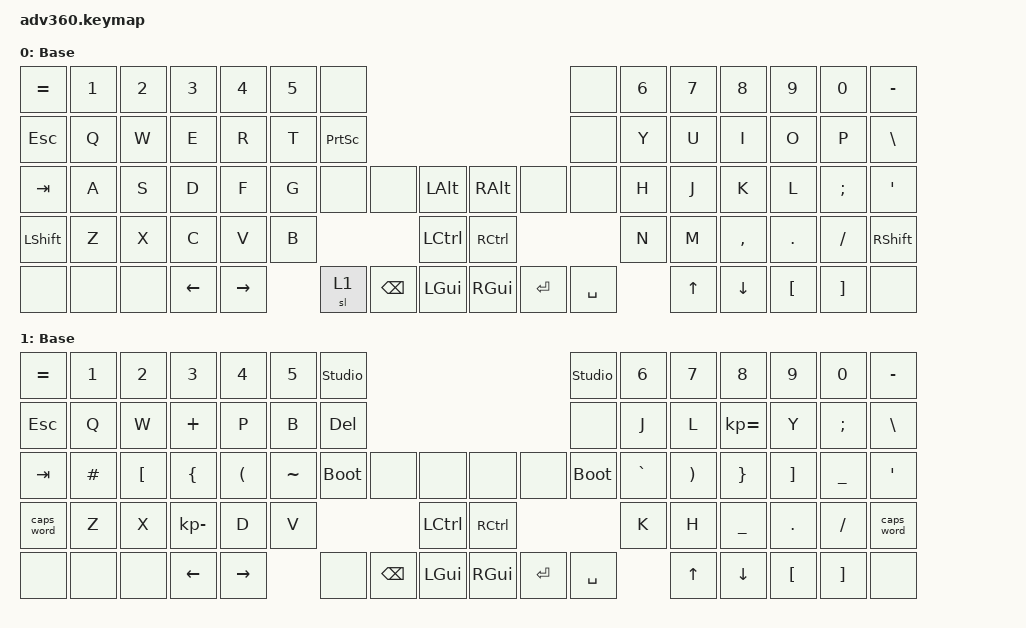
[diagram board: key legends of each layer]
#include <dt-bindings/zmk/stp.h>
#include <behaviors.dtsi>
#include <dt-bindings/zmk/keys.h>

/ {
    behaviors {
        #include "macros.dtsi"
      #include "version.dtsi"

        hmr: homerow_mods_r {
            compatible = "zmk,behavior-hold-tap";
            label = "HOMEROW_MODS_R";
            #binding-cells = <2>;
            tapping-term-ms = <280>;
            flavor = "balanced";
            bindings = <&kp>, <&kp>;

            require-prior-idle-ms = <300>;
            quick-tap-ms = <175>;
            hold-trigger-on-release;
            hold-trigger-key-positions = <68 53 37 38 69 70 35 52 66 67 36 65 0 1 2 3 4 5 6 14 15 16 17 18 19 20 28 29 30 31 32 33 34 35 46 47 48 49 50 51 60 61 62 63 64>;
        };

        hml: homerow_mods_l {
            compatible = "zmk,behavior-hold-tap";
            label = "HOMEROW_MODS_L";
            #binding-cells = <2>;
            tapping-term-ms = <280>;
            flavor = "balanced";
            bindings = <&kp>, <&kp>;

            require-prior-idle-ms = <300>;
            quick-tap-ms = <175>;
            hold-trigger-on-release;
            hold-trigger-key-positions = <7 8 9 10 11 12 13 21 22 23 24 25 26 27 37 38 39 40 41 42 43 44 45 53 54 55 56 57 58 59 68 69 70 71 72 73 74 75 35 36 52 65 66 67>;
        };
    };

    keymap {
        compatible = "zmk,keymap";

        Qwerty {
            display-name = "Base";
            bindings = <
&kp EQUAL       &kp N1  &kp N2  &kp N3    &kp N4     &kp N5  &none                                                                  &none      &kp N6  &kp N7  &kp N8     &kp N9            &kp N0             &kp MINUS
&kp ESC         &kp Q   &kp W   &kp E     &kp R      &kp T   &kp PRINTSCREEN                                                        &none      &kp Y   &kp U   &kp I      &kp O             &kp P              &kp BSLH
&kp TAB         &kp A   &kp S   &kp D     &kp F      &kp G   &none            &none     &kp LEFT_ALT      &kp RIGHT_ALT  &none      &none      &kp H   &kp J   &kp K      &kp L             &kp SEMI           &kp SQT
&kp LEFT_SHIFT  &kp Z   &kp X   &kp C     &kp V      &kp B                              &kp LCTRL         &kp RCTRL                            &kp N   &kp M   &kp COMMA  &kp DOT           &kp FSLH           &kp RSHFT
&none           &none   &none   &kp LEFT  &kp RIGHT          &sl 1            &kp BSPC  &kp LEFT_GUI      &kp RIGHT_GUI  &kp ENTER  &kp SPACE          &kp UP  &kp DOWN   &kp LEFT_BRACKET  &kp RIGHT_BRACKET  &none
            >;
        };

        symbol {
            display-name = "Base";
            bindings = <
&kp EQUAL   &kp N1    &kp N2            &kp N3          &kp N4                &kp N5     &studio_unlock                                                    &studio_unlock  &kp N6     &kp N7    &kp N8           &kp N9             &kp N0             &kp MINUS
&kp ESC     &kp Q     &kp W             &kp PLUS        &kp P                 &kp B      &kp DELETE                                                        &none           &kp J      &kp L     &kp KP_EQUAL     &kp Y              &kp SEMI           &kp BSLH
&kp TAB     &kp HASH  &kp LEFT_BRACKET  &kp LEFT_BRACE  &kp LEFT_PARENTHESIS  &kp TILDE  &bootloader     &none     &none             &none      &none      &bootloader     &kp GRAVE  &kp RPAR  &kp RIGHT_BRACE  &kp RIGHT_BRACKET  &kp UNDER          &kp SQT
&caps_word  &kp Z     &kp X             &kp KP_MINUS    &kp D                 &kp V                                &kp LCTRL         &kp RCTRL                             &kp K      &kp H     &kp UNDER        &kp DOT            &kp FSLH           &caps_word
&none       &none     &none             &kp LEFT        &kp RIGHT                        &none           &kp BSPC  &kp LEFT_GUI      &kp RGUI   &kp ENTER  &kp SPACE                  &kp UP    &kp DOWN         &kp LEFT_BRACKET   &kp RIGHT_BRACKET  &none
            >;
        };
    };
};
